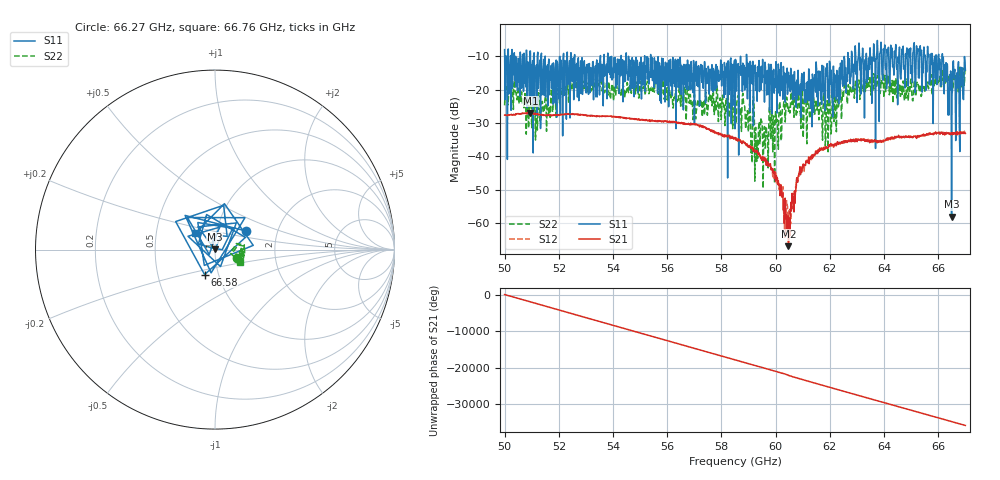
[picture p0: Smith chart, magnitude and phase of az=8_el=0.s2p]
!Created with skrf (http://scikit-rf.org).
# GHz S RI R 50.0
!freq ReS11 ImS11 ReS21 ImS21 ReS12 ImS12 ReS22 ImS22
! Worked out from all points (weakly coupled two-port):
!   1001 points, 50 GHz to 67 GHz, reference 50 ohm
!   highest |S21| = -26.97 dB at 50.95 GHz (marker M1); lowest = -66.9 dB at 60.47 GHz (marker M2)
!   lowest |S11| = -58.1 dB at 66.49 GHz (marker M3), VSWR 1.00, Z = 49.9 + j0.0753 ohm
!   |S11| at or under -10 dB: 52.58 GHz to 53.53 GHz (949.3 MHz wide, 1.79 % of centre); 55.39 GHz to 58.92 GHz (3.533 GHz wide, 6.18 % of centre); 58.93 GHz to 62.66 GHz (3.735 GHz wide, 6.14 % of centre) (the widest 3 of 62)
!   |S22| runs from -49.6 to -13.4 dB; largest |S21 - S12| = 0.0021
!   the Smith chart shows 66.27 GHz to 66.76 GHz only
!   S11 on the Smith chart (normalised r, x): 66.27 GHz: 1.37, +0.30; 66.58 GHz: 0.86, -0.25; 66.76 GHz: 0.79, +0.15
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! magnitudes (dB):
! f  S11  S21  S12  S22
! 50 GHz  -8.0  -27.6  -27.6  -24.7
! 50.15 GHz  -21.3  -27.6  -27.7  -20.7
! 50.95 GHz  -8.4  -27.0  -27.0  -22.8
! 52.84 GHz  -11.9  -27.6  -27.6  -19.8
! 55.68 GHz  -13.2  -29.4  -29.5  -21.4
! 58.5 GHz  -31.7  -34.3  -34.5  -23.5
! 59.11 GHz  -13.0  -37.5  -37.5  -36.3
! 59.32 GHz  -23.5  -38.8  -38.6  -35.2
! 60.01 GHz  -11.6  -45.8  -45.5  -27.2
! 60.47 GHz  -14.8  -66.9  -57.3  -26.5
! 60.85 GHz  -20.6  -45.6  -46.1  -21.2
! 61.34 GHz  -31.1  -39.6  -39.6  -26.5
! 61.88 GHz  -15.8  -37.4  -37.4  -24.3
! 62.55 GHz  -11.3  -35.9  -35.4  -18.8
! 64.18 GHz  -11.8  -34.7  -35.1  -17.6
! 66.27 GHz  -14.0  -33.4  -33.1  -17.8
! 66.44 GHz  -20.1  -33.0  -32.9  -16.2
! 66.49 GHz  -58.1  -33.3  -33.1  -15.6
! 66.58 GHz  -16.4  -32.9  -33.0  -15.8
! 66.61 GHz  -13.9  -33.1  -33.1  -16.9
! 66.76 GHz  -16.9  -33.4  -33.0  -16.1
! 67 GHz  -14.3  -33.2  -32.9  -14.4
